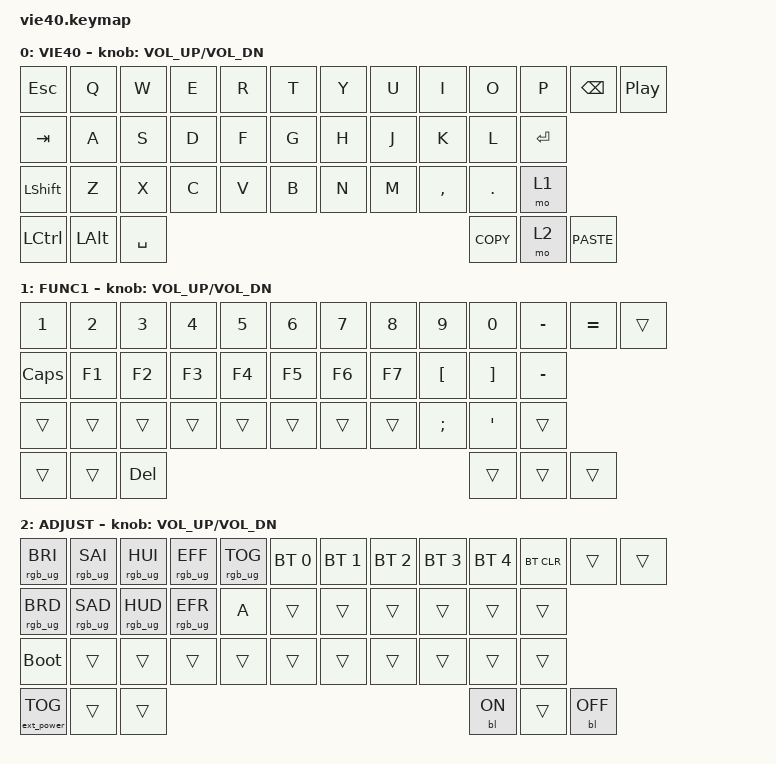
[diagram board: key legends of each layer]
/*
 * Copyright (c) 2021 Nick Winans
 *
 * SPDX-License-Identifier: MIT
 */

#include <behaviors.dtsi>
#include <dt-bindings/zmk/keys.h>
#include <dt-bindings/zmk/rgb.h>
#include <dt-bindings/zmk/bt.h>
#include <dt-bindings/zmk/ext_power.h>
#include <dt-bindings/zmk/backlight.h>

/ {
    keymap {
        compatible = "zmk,keymap";

        default_layer {
            // -------------------------------------------------------------------------------------
            // | ESC |  Q  |  W  |  E  |  R  |  T  |  Y  |  U   |  I  |  O  |  P  | BKSP |  PLAY/PAUSE |
            // | TAB  |  A  |  S  |  D  |  F  |  G  |  H  |  J   |  K  |  L  |   ENTER   |
            // | SHFT  |  Z  |  X  |  C  |  V  |  B  |  N  |  M   | FN1 | FN2 |      UP  |
            //      | CTRL |  ALT |                 SPACE                  | LEFT | DOWN | RIGHT |

            label = " VIE40";
            bindings = <
  &kp ESC     &kp Q  &kp W  &kp E  &kp R      &kp T  &kp Y  &kp U       &kp I       &kp O    &kp P     &kp BSPC  &kp C_PP
  &kp TAB     &kp A  &kp S  &kp D  &kp F      &kp G  &kp H  &kp J       &kp K       &kp L  &kp RET
&kp LSHFT     &kp Z  &kp X  &kp C  &kp V      &kp B  &kp N  &kp M   &kp COMMA  &kp PERIOD    &mo 1
&kp LCTRL  &kp LALT                       &kp SPACE                &kp K_COPY                &mo 2  &kp K_PASTE
            >;

            sensor-bindings = <&inc_dec_kp C_VOL_UP C_VOL_DN>;
        };

        lower_layer {
            // -------------------------------------------------------------------------------------
            // | F1  | F2  | F3  | F4  | F5  | F6  | F7  | F8  | F9  | F10 | F11 | F12 |     |
            // | N1  | N2  | N3  | N4  | N5  | N6  | N7  | N8  | N9  | N0  |  -  |
            // |     |     |     |     |     |     |     |     |     |     |     |
            // |     |     |     |     |     |     |

            label = " FUNC1";
            bindings = <
      &kp N1  &kp N2  &kp N3  &kp N4  &kp N5      &kp N6  &kp N7  &kp N8            &kp N9             &kp N0  &kp MINUS  &kp EQUAL  &trans
&kp CAPSLOCK  &kp F1  &kp F2  &kp F3  &kp F4      &kp F5  &kp F6  &kp F7  &kp LEFT_BRACKET  &kp RIGHT_BRACKET  &kp MINUS
      &trans  &trans  &trans  &trans  &trans      &trans  &trans  &trans     &kp SEMICOLON   &kp SINGLE_QUOTE     &trans
      &trans  &trans                          &kp DELETE                            &trans                        &trans     &trans
            >;

            sensor-bindings = <&inc_dec_kp C_VOL_UP C_VOL_DN>;
        };

        adjust_layer {
            // -------------------------------------------------------------------------------------
            // | RGB BRI+ | RGB SAT+ | RGB HUE+ | RGB ANI+ | RGB TOG |  BT1  |  BT2  |  BT3  |  BT4  |  BT5  | BT CLR |     |     |
            // | RGB BRI- | RGB SAT- | RGB HUE- | RGB ANI- |         |       |       |       |       |       |        |
            // |  RESET   |          |          |          |         |       |       |       |       |       |        |
            // |          |          |                 SPACE                 | BT_PRV|       | BT_NXT|

            label = "ADJUST";
            bindings = <
  &rgb_ug RGB_BRI  &rgb_ug RGB_SAI  &rgb_ug RGB_HUI  &rgb_ug RGB_EFF  &rgb_ug RGB_TOG  &bt BT_SEL 0  &bt BT_SEL 1  &bt BT_SEL 2  &bt BT_SEL 3  &bt BT_SEL 4  &bt BT_CLR      &trans  &trans
  &rgb_ug RGB_BRD  &rgb_ug RGB_SAD  &rgb_ug RGB_HUD  &rgb_ug RGB_EFR            &kp A        &trans        &trans        &trans        &trans        &trans      &trans
      &bootloader           &trans           &trans           &trans           &trans        &trans        &trans        &trans        &trans        &trans      &trans
&ext_power EP_TOG           &trans                                                           &trans                                 &bl BL_ON                    &trans  &bl BL_OFF
            >;

            sensor-bindings = <&inc_dec_kp C_VOL_UP C_VOL_DN>;
        };
    };
};
